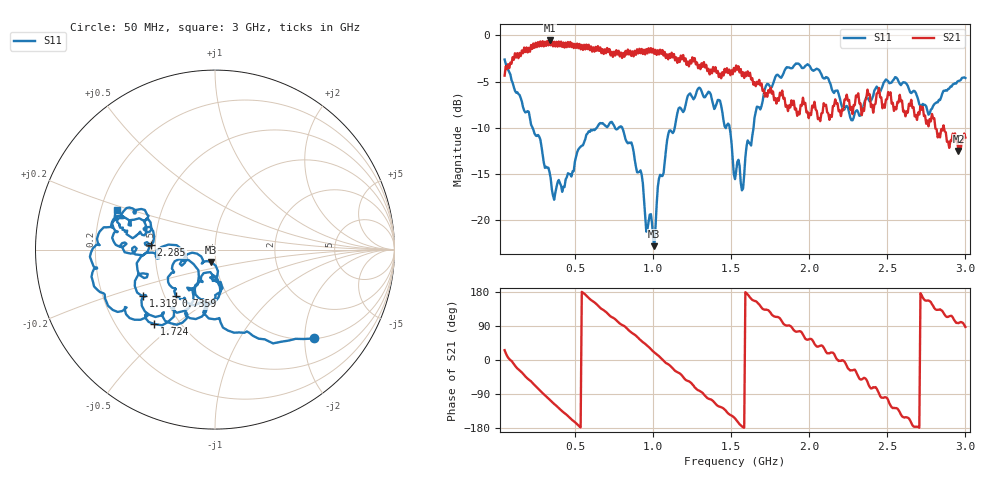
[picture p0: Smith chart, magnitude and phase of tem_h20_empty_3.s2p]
! nanovna_capture.py 2026-10-26T21:01:14+0900
! NanoVNA-F_V2 fw 0.6.0 SN 4A3639384505514B
! cal: load open short thru cal'ed  over 50000000-3000000000 Hz, 201 points
! points 401, avg 4
! TEM cell h=20 (septum+ramps trimmed ~2 mm each end), empty
# HZ S RI R 50
! S12 and S22 are not measured (written as 0)
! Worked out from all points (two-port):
!   401 points, 50 MHz to 3 GHz, reference 50 ohm
!   highest |S21| = -0.54 dB at 337.6 MHz (marker M1); lowest = -12.5 dB at 2.956 GHz (marker M2)
!   |S21| within 3 dB of the highest: 79.63 MHz to 1.289 GHz (1.209 GHz wide, 177 % of centre); 1.305 GHz to 1.344 GHz (39.32 MHz wide, 2.97 % of centre) (the widest 2 of 10)
!   lowest |S11| = -22.9 dB at 1.009 GHz (marker M3), VSWR 1.15, Z = 47.6 - j6.58 ohm
!   |S11| at or under -10 dB: 228.2 MHz to 641.1 MHz (413 MHz wide, 95 % of centre); 802.9 MHz to 1.139 GHz (336.2 MHz wide, 34.6 % of centre); 1.491 GHz to 1.644 GHz (153.2 MHz wide, 9.78 % of centre) (the widest 3 of 5)
!   S12 and S22 are empty: the file has one direction only
!   S11 on the Smith chart (normalised r, x): 50 MHz: 1.01, -2.21; 735.9 MHz: 0.57, -0.34; 1.319 GHz: 0.38, -0.25; 1.724 GHz: 0.36, -0.42; 2.285 GHz: 0.47, +0.03; 3 GHz: 0.27, +0.18
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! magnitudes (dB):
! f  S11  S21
! 50 MHz  -2.6  -4.4
! 337.6 MHz  -14.8  -0.5
! 426.1 MHz  -16.4  -0.8
! 544.1 MHz  -12.0  -1.0
! 735.9 MHz  -9.4  -1.8
! 861.2 MHz  -11.6  -2.2
! 927.6 MHz  -15.1  -1.5
! 957.1 MHz  -21.3  -1.5
! 1.009 GHz  -22.9  -2.0
! 1.038 GHz  -15.6  -2.1
! 1.164 GHz  -7.9  -2.5
! 1.319 GHz  -6.4  -3.4
! 1.429 GHz  -7.1  -4.1
! 1.525 GHz  -15.6  -3.9
! 1.577 GHz  -16.6  -4.0
! 1.724 GHz  -5.4  -6.3
! 2.019 GHz  -3.8  -7.6
! 2.285 GHz  -8.9  -7.6
! 2.513 GHz  -5.2  -6.5
! 2.771 GHz  -8.5  -9.1
! 2.956 GHz  -4.9  -12.5
! 3 GHz  -4.6  -11.1
